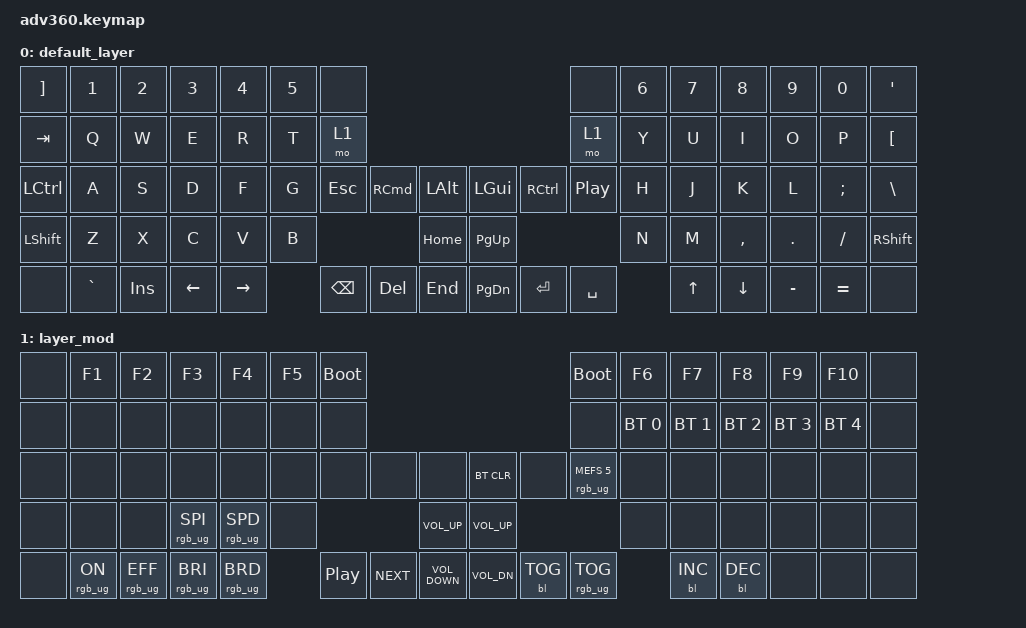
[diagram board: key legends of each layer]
/*
 * Copyright (c) 2020 The ZMK Contributors
 *
 * SPDX-License-Identifier: MIT
 */
/* THIS FILE WAS GENERATED!
 *
 * This file was generated automatically. You may or may not want to
 * edit it directly.
 */

#include <dt-bindings/zmk/stp.h>
#include <behaviors.dtsi>
#include <dt-bindings/zmk/backlight.h>
#include <dt-bindings/zmk/bt.h>
#include <dt-bindings/zmk/keys.h>
#include <dt-bindings/zmk/rgb.h>

/ {
    behaviors {
        #include "macros.dtsi"
      #include "version.dtsi"

        hm: homerow_mods {
            compatible = "zmk,behavior-hold-tap";
            label = "HOMEROW_MODS";
            #binding-cells = <2>;
            tapping-term-ms = <200>;
            quick_tap_ms = <175>;
            flavor = "tap-preferred";
            bindings = <&kp>, <&kp>;
        };
    };

    keymap {
        compatible = "zmk,keymap";

        default_layer {
            bindings = <
&kp RIGHT_BRACKET  &kp N1     &kp N2      &kp N3    &kp N4     &kp N5  &none                                                              &none             &kp N6  &kp N7  &kp N8     &kp N9     &kp N0     &kp SINGLE_QUOTE
&kp TAB            &kp Q      &kp W       &kp E     &kp R      &kp T   &mo 1                                                              &mo 1             &kp Y   &kp U   &kp I      &kp O      &kp P      &kp LEFT_BRACKET
&kp LCTRL          &kp A      &kp S       &kp D     &kp F      &kp G   &kp ESCAPE  &kp RIGHT_COMMAND  &kp LALT      &kp LGUI   &kp RCTRL  &kp C_PLAY_PAUSE  &kp H   &kp J   &kp K      &kp L      &kp SEMI   &kp BACKSLASH
&kp LSHFT          &kp Z      &kp X       &kp C     &kp V      &kp B                                  &kp HOME      &kp PG_UP                               &kp N   &kp M   &kp COMMA  &kp DOT    &kp FSLH   &kp RSHFT
&none              &kp GRAVE  &kp INSERT  &kp LEFT  &kp RIGHT          &kp BSPC    &kp DEL            &kp END       &kp PG_DN  &kp ENTER  &kp SPACE                 &kp UP  &kp DOWN   &kp MINUS  &kp EQUAL  &none
            >;
        };

        layer_mod {
            bindings = <
&none  &kp F1          &kp F2           &kp F3           &kp F4           &kp F5  &bootloader                                                                    &bootloader             &kp F6        &kp F7        &kp F8        &kp F9        &kp F10       &none
&none  &none           &none            &none            &none            &none   &none                                                                          &none                   &bt BT_SEL 0  &bt BT_SEL 1  &bt BT_SEL 2  &bt BT_SEL 3  &bt BT_SEL 4  &none
&none  &none           &none            &none            &none            &none   &none             &none       &none                  &bt BT_CLR    &none       &rgb_ug RGB_MEFS_CMD 5  &none         &none         &none         &none         &none         &none
&none  &none           &none            &rgb_ug RGB_SPI  &rgb_ug RGB_SPD  &none                                 &kp C_VOLUME_UP        &kp C_VOL_UP                                      &none         &none         &none         &none         &none         &none
&none  &rgb_ug RGB_ON  &rgb_ug RGB_EFF  &rgb_ug RGB_BRI  &rgb_ug RGB_BRD          &kp C_PLAY_PAUSE  &kp C_NEXT  &kp C_VOLUME_DOWN      &kp C_VOL_DN  &bl BL_TOG  &rgb_ug RGB_TOG                       &bl BL_INC    &bl BL_DEC    &none         &none         &none
            >;
        };
    };

    extra1 {
        display-name = "Red";
        status = "reserved";
    };

    extra2 {
        status = "reserved";
        display-name = "Purple";
    };

    extra3 { display-name = "Cyan"; };

    status = "reserved";

    extra4 {
        display-name = "Yellow";
        status = "reserved";
    };
};

};
